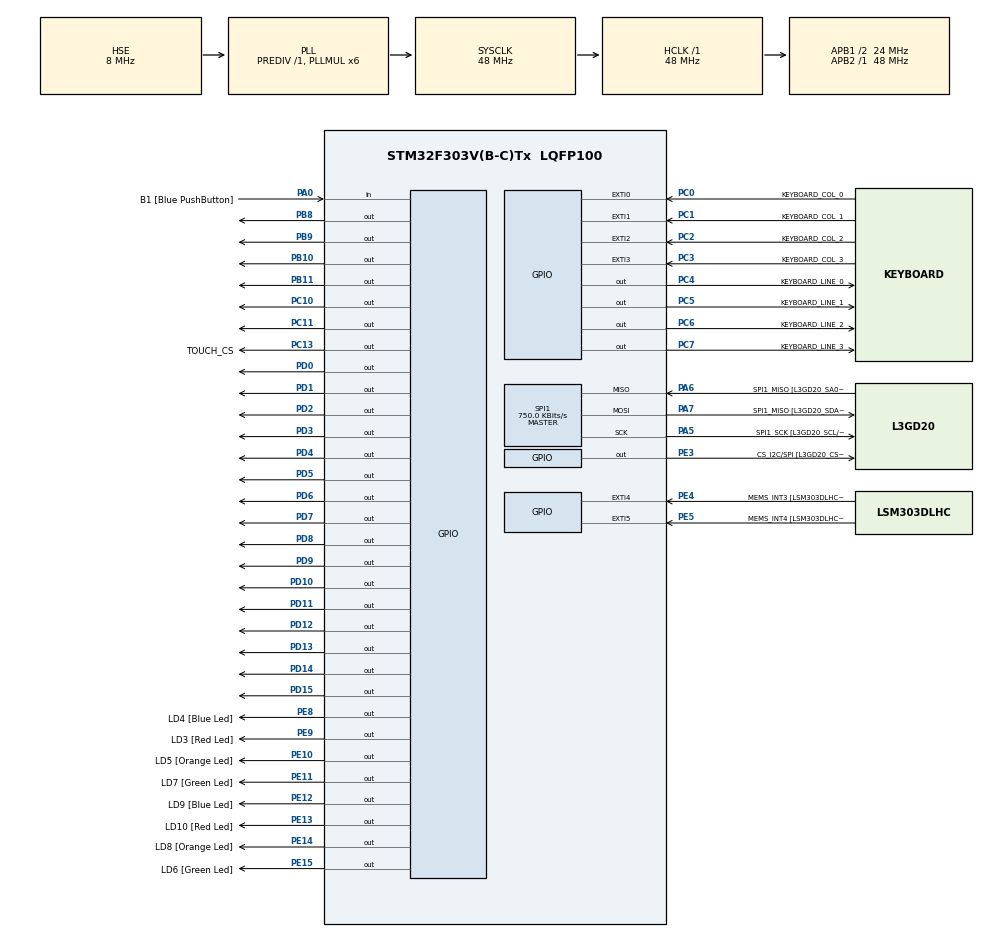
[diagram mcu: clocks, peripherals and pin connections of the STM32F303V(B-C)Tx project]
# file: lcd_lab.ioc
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Mcu.Family=STM32F3
Mcu.Name=STM32F303V(B-C)Tx
Mcu.Package=LQFP100
NVIC.EXTI0_IRQn=true\:0\:4\:false\:false\:true\:true\:true
NVIC.EXTI1_IRQn=true\:0\:4\:false\:false\:true\:true\:true
NVIC.EXTI2_TSC_IRQn=true\:0\:4\:false\:false\:true\:true\:true
NVIC.EXTI3_IRQn=true\:0\:4\:false\:false\:true\:true\:true
NVIC.PriorityGroup=NVIC_PRIORITYGROUP_0
PA0.GPIO_Label=B1 [Blue PushButton]
PA0.GPIO_Mode=GPIO_MODE_INPUT
PA0.GPIO_PuPd=GPIO_NOPULL
PA0.Signal=GPIO_Input
PA11.GPIO_Label=DM
PA11.Signal=USB_DM
PA12.GPIO_Label=DP
PA12.Signal=USB_DP
PA13.GPIO_Label=SWDIO
PA13.Signal=SYS_JTMS-SWDIO
PA14.GPIO_Label=SWCLK
PA14.Signal=SYS_JTCK-SWCLK
PA5.GPIO_Label=SPI1_SCK [L3GD20_SCL/SPC]
PA5.GPIO_Mode=GPIO_MODE_AF_PP
PA5.GPIO_PuPd=GPIO_NOPULL
PA5.GPIO_Speed=GPIO_SPEED_FREQ_LOW
PA5.Mode=Full_Duplex_Master
PA5.Signal=SPI1_SCK
PA6.GPIO_Label=SPI1_MISO [L3GD20_SA0/SDO]
PA6.GPIO_Mode=GPIO_MODE_AF_PP
PA6.GPIO_PuPd=GPIO_NOPULL
PA6.GPIO_Speed=GPIO_SPEED_FREQ_LOW
PA6.Mode=Full_Duplex_Master
PA6.Signal=SPI1_MISO
PA7.GPIO_Label=SPI1_MISO [L3GD20_SDA/SDI/SDO]
PA7.GPIO_Mode=GPIO_MODE_AF_PP
PA7.GPIO_PuPd=GPIO_NOPULL
PA7.GPIO_Speed=GPIO_SPEED_FREQ_LOW
PA7.Mode=Full_Duplex_Master
PA7.Signal=SPI1_MOSI
PB10.GPIO_Speed=GPIO_SPEED_FREQ_HIGH
PB10.PinState=GPIO_PIN_SET
PB10.Signal=GPIO_Output
PB11.GPIO_Speed=GPIO_SPEED_FREQ_HIGH
PB11.PinState=GPIO_PIN_SET
PB11.Signal=GPIO_Output
PB3.GPIO_Label=SWO
PB3.Signal=SYS_JTDO-TRACESWO
PB6.GPIO_FM6=__NULL
PB6.GPIO_Label=I2C1_SCL [LSM303DLHC_SCL]
PB6.GPIO_Mode=GPIO_MODE_AF_OD
PB6.GPIO_PuPd=GPIO_NOPULL
PB6.GPIO_Speed=GPIO_SPEED_FREQ_LOW
PB6.Signal=I2C1_SCL
PB7.GPIO_FM7=__NULL
PB7.GPIO_Label=I2C1_SDA [LSM303DLHC_SDA]
PB7.GPIO_Mode=GPIO_MODE_AF_OD
PB7.GPIO_PuPd=GPIO_NOPULL
PB7.GPIO_Speed=GPIO_SPEED_FREQ_LOW
PB7.Signal=I2C1_SDA
PB8.GPIO_Speed=GPIO_SPEED_FREQ_HIGH
PB8.PinState=GPIO_PIN_SET
PB8.Signal=GPIO_Output
PB9.GPIO_Speed=GPIO_SPEED_FREQ_HIGH
PB9.PinState=GPIO_PIN_SET
PB9.Signal=GPIO_Output
PC0.GPIO_Label=KEYBOARD_COL_0
PC0.GPIO_ModeDefaultEXTI=GPIO_MODE_IT_RISING_FALLING
PC0.GPIO_PuPd=GPIO_PULLDOWN
PC0.Signal=GPXTI0
PC1.GPIO_Label=KEYBOARD_COL_1
PC1.GPIO_ModeDefaultEXTI=GPIO_MODE_IT_RISING_FALLING
PC1.GPIO_PuPd=GPIO_PULLDOWN
PC1.Signal=GPXTI1
PC10.GPIO_ModeDefaultOutputPP=GPIO_MODE_OUTPUT_OD
PC10.GPIO_PuPd=GPIO_PULLUP
PC10.GPIO_Speed=GPIO_SPEED_FREQ_HIGH
PC10.PinState=GPIO_PIN_SET
PC10.Signal=GPIO_Output
PC11.GPIO_ModeDefaultOutputPP=GPIO_MODE_OUTPUT_OD
PC11.GPIO_PuPd=GPIO_PULLUP
PC11.GPIO_Speed=GPIO_SPEED_FREQ_HIGH
PC11.PinState=GPIO_PIN_SET
PC11.Signal=GPIO_Output
PC13.GPIO_Label=TOUCH_CS
PC13.GPIO_ModeDefaultOutputPP=GPIO_MODE_OUTPUT_OD
PC13.GPIO_PuPd=GPIO_PULLUP
PC13.PinState=GPIO_PIN_SET
PC13.Signal=GPIO_Output
PC14-OSC32_IN.GPIO_Label=OSC32_IN
PC14-OSC32_IN.Signal=RCC_OSC32_IN
PC15-OSC32_OUT.GPIO_Label=OSC32_OUT
PC15-OSC32_OUT.Signal=RCC_OSC32_OUT
PC2.GPIO_Label=KEYBOARD_COL_2
PC2.GPIO_ModeDefaultEXTI=GPIO_MODE_IT_RISING_FALLING
PC2.GPIO_PuPd=GPIO_PULLDOWN
PC2.Signal=GPXTI2
PC3.GPIO_Label=KEYBOARD_COL_3
PC3.GPIO_ModeDefaultEXTI=GPIO_MODE_IT_RISING_FALLING
PC3.GPIO_PuPd=GPIO_PULLDOWN
PC3.Signal=GPXTI3
PC4.GPIO_Label=KEYBOARD_LINE_0
PC4.GPIO_Speed=GPIO_SPEED_FREQ_HIGH
PC4.PinState=GPIO_PIN_SET
PC4.Signal=GPIO_Output
PC5.GPIO_Label=KEYBOARD_LINE_1
PC5.GPIO_Speed=GPIO_SPEED_FREQ_HIGH
PC5.PinState=GPIO_PIN_SET
PC5.Signal=GPIO_Output
PC6.GPIO_Label=KEYBOARD_LINE_2
PC6.GPIO_Speed=GPIO_SPEED_FREQ_HIGH
PC6.PinState=GPIO_PIN_SET
PC6.Signal=GPIO_Output
PC7.GPIO_Label=KEYBOARD_LINE_3
PC7.GPIO_Speed=GPIO_SPEED_FREQ_HIGH
PC7.PinState=GPIO_PIN_SET
PC7.Signal=GPIO_Output
PD0.GPIO_Speed=GPIO_SPEED_FREQ_HIGH
PD0.PinState=GPIO_PIN_SET
PD0.Signal=GPIO_Output
PD1.GPIO_Speed=GPIO_SPEED_FREQ_HIGH
PD1.PinState=GPIO_PIN_SET
PD1.Signal=GPIO_Output
PD10.GPIO_Speed=GPIO_SPEED_FREQ_HIGH
PD10.PinState=GPIO_PIN_SET
PD10.Signal=GPIO_Output
PD11.GPIO_Speed=GPIO_SPEED_FREQ_HIGH
PD11.PinState=GPIO_PIN_SET
PD11.Signal=GPIO_Output
PD12.GPIO_Speed=GPIO_SPEED_FREQ_HIGH
PD12.PinState=GPIO_PIN_SET
PD12.Signal=GPIO_Output
PD13.GPIO_Speed=GPIO_SPEED_FREQ_HIGH
PD13.PinState=GPIO_PIN_SET
PD13.Signal=GPIO_Output
PD14.GPIO_Speed=GPIO_SPEED_FREQ_HIGH
PD14.PinState=GPIO_PIN_SET
PD14.Signal=GPIO_Output
PD15.GPIO_Speed=GPIO_SPEED_FREQ_HIGH
PD15.PinState=GPIO_PIN_SET
PD15.Signal=GPIO_Output
PD2.GPIO_Speed=GPIO_SPEED_FREQ_HIGH
PD2.PinState=GPIO_PIN_SET
PD2.Signal=GPIO_Output
PD3.GPIO_Speed=GPIO_SPEED_FREQ_HIGH
PD3.PinState=GPIO_PIN_SET
PD3.Signal=GPIO_Output
PD4.GPIO_Speed=GPIO_SPEED_FREQ_HIGH
PD4.PinState=GPIO_PIN_SET
PD4.Signal=GPIO_Output
PD5.GPIO_Speed=GPIO_SPEED_FREQ_HIGH
PD5.PinState=GPIO_PIN_SET
PD5.Signal=GPIO_Output
PD6.GPIO_Speed=GPIO_SPEED_FREQ_HIGH
PD6.PinState=GPIO_PIN_SET
PD6.Signal=GPIO_Output
PD7.GPIO_Speed=GPIO_SPEED_FREQ_HIGH
PD7.PinState=GPIO_PIN_SET
PD7.Signal=GPIO_Output
PD8.GPIO_Speed=GPIO_SPEED_FREQ_HIGH
PD8.PinState=GPIO_PIN_SET
PD8.Signal=GPIO_Output
PD9.GPIO_Speed=GPIO_SPEED_FREQ_HIGH
PD9.PinState=GPIO_PIN_SET
PD9.Signal=GPIO_Output
PE10.GPIO_Label=LD5 [Orange Led]
PE10.GPIO_ModeDefaultOutputPP=GPIO_MODE_OUTPUT_PP
PE10.GPIO_PuPd=GPIO_NOPULL
PE10.GPIO_Speed=GPIO_SPEED_FREQ_LOW
PE10.Signal=GPIO_Output
PE11.GPIO_Label=LD7 [Green Led]
PE11.GPIO_ModeDefaultOutputPP=GPIO_MODE_OUTPUT_PP
PE11.GPIO_PuPd=GPIO_NOPULL
PE11.GPIO_Speed=GPIO_SPEED_FREQ_LOW
PE11.Signal=GPIO_Output
PE12.GPIO_Label=LD9 [Blue Led]
PE12.GPIO_ModeDefaultOutputPP=GPIO_MODE_OUTPUT_PP
PE12.GPIO_PuPd=GPIO_NOPULL
PE12.GPIO_Speed=GPIO_SPEED_FREQ_LOW
PE12.Signal=GPIO_Output
PE13.GPIO_Label=LD10 [Red Led]
PE13.GPIO_ModeDefaultOutputPP=GPIO_MODE_OUTPUT_PP
PE13.GPIO_PuPd=GPIO_NOPULL
PE13.GPIO_Speed=GPIO_SPEED_FREQ_LOW
PE13.Signal=GPIO_Output
PE14.GPIO_Label=LD8 [Orange Led]
PE14.GPIO_ModeDefaultOutputPP=GPIO_MODE_OUTPUT_PP
PE14.GPIO_PuPd=GPIO_NOPULL
PE14.GPIO_Speed=GPIO_SPEED_FREQ_LOW
PE14.Signal=GPIO_Output
PE15.GPIO_Label=LD6 [Green Led]
PE15.GPIO_ModeDefaultOutputPP=GPIO_MODE_OUTPUT_PP
PE15.GPIO_PuPd=GPIO_NOPULL
PE15.GPIO_Speed=GPIO_SPEED_FREQ_LOW
PE15.Signal=GPIO_Output
PE3.GPIO_Label=CS_I2C/SPI [L3GD20_CS_I2C/SPI]
PE3.GPIO_ModeDefaultOutputPP=GPIO_MODE_OUTPUT_PP
PE3.GPIO_PuPd=GPIO_NOPULL
PE3.GPIO_Speed=GPIO_SPEED_FREQ_LOW
PE3.Signal=GPIO_Output
PE4.GPIO_Label=MEMS_INT3 [LSM303DLHC_INT1]
PE4.GPIO_ModeDefaultEXTI=GPIO_MODE_EVT_RISING
PE4.GPIO_PuPd=GPIO_NOPULL
PE4.Signal=GPXTI4
PE5.GPIO_Label=MEMS_INT4 [LSM303DLHC_INT2]
PE5.GPIO_ModeDefaultEXTI=GPIO_MODE_EVT_RISING
PE5.GPIO_PuPd=GPIO_NOPULL
PE5.Signal=GPXTI5
PE8.GPIO_Label=LD4 [Blue Led]
PE8.GPIO_ModeDefaultOutputPP=GPIO_MODE_OUTPUT_PP
PE8.GPIO_PuPd=GPIO_NOPULL
PE8.GPIO_Speed=GPIO_SPEED_FREQ_LOW
PE8.Signal=GPIO_Output
PE9.GPIO_Label=LD3 [Red Led]
PE9.GPIO_ModeDefaultOutputPP=GPIO_MODE_OUTPUT_PP
PE9.GPIO_PuPd=GPIO_NOPULL
PE9.GPIO_Speed=GPIO_SPEED_FREQ_LOW
PE9.Signal=GPIO_Output
PF0-OSC_IN.GPIO_Label=OSC_IN
PF0-OSC_IN.Mode=HSE-External-Clock-Source
PF0-OSC_IN.Signal=RCC_OSC_IN
PF1-OSC_OUT.GPIO_Label=OSC_OUT
PF1-OSC_OUT.Signal=RCC_OSC_OUT
ProjectManager.HeapSize=0x200
ProjectManager.StackSize=0x2600
ProjectManager.TargetToolchain=Makefile
RCC.AHBFreq_Value=48000000
RCC.APB1CLKDivider=RCC_HCLK_DIV2
RCC.APB1Freq_Value=24000000
RCC.APB1TimFreq_Value=48000000
RCC.APB2Freq_Value=48000000
RCC.APB2TimFreq_Value=48000000
RCC.CortexFreq_Value=48000000
RCC.HCLKFreq_Value=48000000
RCC.HSE_VALUE=8000000
RCC.HSI_VALUE=8000000
RCC.LSE_VALUE=32768
RCC.PLLMUL=RCC_PLL_MUL6
RCC.PLLSourceVirtual=RCC_PLLSOURCE_HSE
RCC.SYSCLKFreq_VALUE=48000000
RCC.SYSCLKSourceVirtual=RCC_SYSCLKSOURCE_PLLCLK
RCC.USBFreq_Value=48000000
SPI1.BaudRatePrescaler=SPI_BAUDRATEPRESCALER_64
SPI1.CalculateBaudRate=750.0 KBits/s
SPI1.DataSize=SPI_DATASIZE_8BIT
SPI1.Direction=SPI_DIRECTION_2LINES
SPI1.Mode=SPI_MODE_MASTER
SPI1.VirtualType=VM_MASTER
board=STM32F3DISCOVERY

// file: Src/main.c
/* USER CODE BEGIN Header */
/**
 ******************************************************************************
 * @file           : main.c
 * @brief          : Main program body
 ******************************************************************************
 * @attention
 *
 * Copyright (c) 2022 STMicroelectronics.
 * All rights reserved.
 *
 * This software is licensed under terms that can be found in the LICENSE file
 * in the root directory of this software component.
 * If no LICENSE file comes with this software, it is provided AS-IS.
 *
 ******************************************************************************
 */
/* USER CODE END Header */
#include "main.h"

/* USER CODE BEGIN Includes */
#include <string.h>

#include "keyboard.h"
#include "lab_5_icons.h"
#include "lcd.h"
#include "touch.h"
/* USER CODE END Includes */

/* USER CODE BEGIN PD */
#define AVG_BUFFER_SIZE 3
#define TOUCH_TRIGGER_VALUE 3800
#define ABS(x) ((x) < 0 ? -(x) : (x))

#define CURSOR_DEFAULT cursor_6_image
#define CURSOR_ON_TOUCH cursor_5_image
/* USER CODE END PD */

SPI_HandleTypeDef hspi1;

/* USER CODE BEGIN PV */
int background_color = LCD_ILI93XX_COLOR_FUCHSIA;
int cursor_color = LCD_ILI93XX_COLOR_GRAY;
/* USER CODE END PV */

void SystemClock_Config(void);
static void MX_GPIO_Init(void);
static void MX_SPI1_Init(void);

/* USER CODE BEGIN 0 */
void KeyboardHandleEvent(KeyEvent e) {
  if (e.state != PRESSED) {
    return;
  }

  switch (e.key) {
    case 0:
      background_color = LCD_ILI93XX_COLOR_FUCHSIA;
      break;

    case 1:
      background_color = LCD_ILI93XX_COLOR_SILVER;
      break;

    case 2:
      background_color = LCD_ILI93XX_COLOR_MAROON;
      break;

    case 3:
      background_color = LCD_ILI93XX_COLOR_NAVY;
      break;

    default:
      break;
  }
}
/* USER CODE END 0 */

int main(void)
{

  /* MCU Configuration--------------------------------------------------------*/

  /* Reset of all peripherals, Initializes the Flash interface and the Systick. */
  HAL_Init();

  /* Configure the system clock */
  SystemClock_Config();

  /* Initialize all configured peripherals */
  MX_GPIO_Init();
  MX_SPI1_Init();
  /* USER CODE BEGIN 2 */

  int err = 0;

  lcd_xpt2046_driver_t touch_drv = make_touch_driver(&err);
  if (err) {
    while (1) {
      __NOP();
    }
  }

  lcd_ili93xx_driver_t lcd_drv = make_lcd_driver(&err);
  if (err) {
    while (1) {
      __NOP();
    }
  }

  Keyboard_Init();
  Keyboard_SetCallback(KeyboardHandleEvent);

  int16_t width = 0;
  int16_t height = 0;
  lcd_ili93xx_get_width(&lcd_drv, &width);
  lcd_ili93xx_get_height(&lcd_drv, &height);

  /* USER CODE END 2 */

  /* Infinite loop */
  /* USER CODE BEGIN WHILE */
  int touched = 0;
  int touch_x, touch_y;

  while (1) {
    // Grab touch data
    int x[AVG_BUFFER_SIZE] = {0};
    int y[AVG_BUFFER_SIZE] = {0};
    int z1[AVG_BUFFER_SIZE] = {0};
    int z2[AVG_BUFFER_SIZE] = {0};

    for (int i = 0; i < AVG_BUFFER_SIZE; i++) {
      int err = 0;
      err |= lcd_xpt2046_measure(&touch_drv, XPT2046_CMD_MEASURE_X, &x[i]);
      err |= lcd_xpt2046_measure(&touch_drv, XPT2046_CMD_MEASURE_Y, &y[i]);
      err |= lcd_xpt2046_measure(&touch_drv, XPT2046_CMD_MEASURE_Z1, &z1[i]);
      err |= lcd_xpt2046_measure(&touch_drv, XPT2046_CMD_MEASURE_Z2, &z2[i]);

      if (err) {
        __NOP();
      }
    }
    // Average data
    int avg_x = 0, avg_y = 0, avg_z1 = 0, avg_z2 = 0;
    for (int i = 0; i < AVG_BUFFER_SIZE; i++) {
      avg_x += x[i];
      avg_y += y[i];
      avg_z1 += z1[i];
      avg_z2 += z2[i];
    }
    avg_x /= AVG_BUFFER_SIZE;
    avg_y /= AVG_BUFFER_SIZE;
    avg_z1 /= AVG_BUFFER_SIZE;
    avg_z2 /= AVG_BUFFER_SIZE;

    // Touch detection
    if (ABS(avg_z2 - avg_z1) < TOUCH_TRIGGER_VALUE) {
      // Touched
      touched = 1;
      touch_x = avg_x * 240 / 4096 - 8;
      touch_y = avg_y * 320 / 4096 + 8;
    } else {
      touched = 0;
    }

    // Draw
    int cached_back_color = background_color;
    int cached_front_color = cursor_color;

    for (int x = 0; x < 240; x++) {
      uint16_t color_line[320];
      for (int i = 0; i < 320; i++) {
        color_line[i] = cached_back_color;
      }

      if (touch_x <= x && x < touch_x + 16) {
        int x_in_img = x - touch_x;
        for (int y_in_img = 0; y_in_img < 16; y_in_img++) {
          int mask = CURSOR_DEFAULT[x_in_img][y_in_img];
          if (touched) {
            mask = CURSOR_ON_TOUCH[x_in_img][y_in_img];
          }

          if (mask) {
            color_line[touch_y + y_in_img] = cached_front_color;
          }
        }
      }

      lcd_ili93xx_fill_area(&lcd_drv, x, 0, x, 320, color_line);
    }

    // lcd_ili93xx_fill_area_color(&lcd_drv, 0, 0, width, height,
    //                             cached_back_color);

    // uint16_t color_data[16][16] = {0};

    // for (int x = 0; x < 16; x++) {
    //   for (int y = 0; y < 16; y++) {
    //     int mask = CURSOR_DEFAULT[x][y];
    //     if (touched) {
    //       mask = CURSOR_ON_TOUCH[x][y];
    //     }

    //     if (mask) {
    //       color_data[x][y] = cached_front_color;
    //     } else {
    //       color_data[x][y] = cached_back_color;
    //     }
    //   }
    // }

    // lcd_ili93xx_fill_area(&lcd_drv, touch_x, touch_y, touch_x + 16,
    //                       touch_y + 16, (int16_t*)color_data);

    /* USER CODE END WHILE */

    /* USER CODE BEGIN 3 */
    HAL_Delay(1);
  }
  /* USER CODE END 3 */
}

void SystemClock_Config(void)
{
  RCC_OscInitTypeDef RCC_OscInitStruct = {0};
  RCC_ClkInitTypeDef RCC_ClkInitStruct = {0};

  /** Initializes the RCC Oscillators according to the specified parameters
  * in the RCC_OscInitTypeDef structure.
  */
  RCC_OscInitStruct.OscillatorType = RCC_OSCILLATORTYPE_HSE;
  RCC_OscInitStruct.HSEState = RCC_HSE_BYPASS;
  RCC_OscInitStruct.HSEPredivValue = RCC_HSE_PREDIV_DIV1;
  RCC_OscInitStruct.HSIState = RCC_HSI_ON;
  RCC_OscInitStruct.PLL.PLLState = RCC_PLL_ON;
  RCC_OscInitStruct.PLL.PLLSource = RCC_PLLSOURCE_HSE;
  RCC_OscInitStruct.PLL.PLLMUL = RCC_PLL_MUL6;
  if (HAL_RCC_OscConfig(&RCC_OscInitStruct) != HAL_OK)
  {
    Error_Handler();
  }
  /** Initializes the CPU, AHB and APB buses clocks
  */
  RCC_ClkInitStruct.ClockType = RCC_CLOCKTYPE_HCLK|RCC_CLOCKTYPE_SYSCLK
                              |RCC_CLOCKTYPE_PCLK1|RCC_CLOCKTYPE_PCLK2;
  RCC_ClkInitStruct.SYSCLKSource = RCC_SYSCLKSOURCE_PLLCLK;
  RCC_ClkInitStruct.AHBCLKDivider = RCC_SYSCLK_DIV1;
  RCC_ClkInitStruct.APB1CLKDivider = RCC_HCLK_DIV2;
  RCC_ClkInitStruct.APB2CLKDivider = RCC_HCLK_DIV1;

  if (HAL_RCC_ClockConfig(&RCC_ClkInitStruct, FLASH_LATENCY_1) != HAL_OK)
  {
    Error_Handler();
  }
}

static void MX_SPI1_Init(void)
{

  /* SPI1 parameter configuration*/
  hspi1.Instance = SPI1;
  hspi1.Init.Mode = SPI_MODE_MASTER;
  hspi1.Init.Direction = SPI_DIRECTION_2LINES;
  hspi1.Init.DataSize = SPI_DATASIZE_8BIT;
  hspi1.Init.CLKPolarity = SPI_POLARITY_LOW;
  hspi1.Init.CLKPhase = SPI_PHASE_1EDGE;
  hspi1.Init.NSS = SPI_NSS_SOFT;
  hspi1.Init.BaudRatePrescaler = SPI_BAUDRATEPRESCALER_64;
  hspi1.Init.FirstBit = SPI_FIRSTBIT_MSB;
  hspi1.Init.TIMode = SPI_TIMODE_DISABLE;
  hspi1.Init.CRCCalculation = SPI_CRCCALCULATION_DISABLE;
  hspi1.Init.CRCPolynomial = 7;
  hspi1.Init.CRCLength = SPI_CRC_LENGTH_DATASIZE;
  hspi1.Init.NSSPMode = SPI_NSS_PULSE_ENABLE;
  if (HAL_SPI_Init(&hspi1) != HAL_OK)
  {
    Error_Handler();
  }

}

static void MX_GPIO_Init(void)
{
  GPIO_InitTypeDef GPIO_InitStruct = {0};

  /* GPIO Ports Clock Enable */
  __HAL_RCC_GPIOE_CLK_ENABLE();
  __HAL_RCC_GPIOC_CLK_ENABLE();
  __HAL_RCC_GPIOF_CLK_ENABLE();
  __HAL_RCC_GPIOA_CLK_ENABLE();
  __HAL_RCC_GPIOB_CLK_ENABLE();
  __HAL_RCC_GPIOD_CLK_ENABLE();

  /*Configure GPIO pin Output Level */
  HAL_GPIO_WritePin(GPIOE, CS_I2C_SPI_Pin|LD4_Pin|LD3_Pin|LD5_Pin
                          |LD7_Pin|LD9_Pin|LD10_Pin|LD8_Pin
                          |LD6_Pin, GPIO_PIN_RESET);

  /*Configure GPIO pin Output Level */
  HAL_GPIO_WritePin(GPIOC, TOUCH_CS_Pin|KEYBOARD_LINE_0_Pin|KEYBOARD_LINE_1_Pin|KEYBOARD_LINE_2_Pin
                          |KEYBOARD_LINE_3_Pin|GPIO_PIN_10|GPIO_PIN_11, GPIO_PIN_SET);

  /*Configure GPIO pin Output Level */
  HAL_GPIO_WritePin(GPIOB, GPIO_PIN_10|GPIO_PIN_11|GPIO_PIN_8|GPIO_PIN_9, GPIO_PIN_SET);

  /*Configure GPIO pin Output Level */
  HAL_GPIO_WritePin(GPIOD, GPIO_PIN_8|GPIO_PIN_9|GPIO_PIN_10|GPIO_PIN_11
                          |GPIO_PIN_12|GPIO_PIN_13|GPIO_PIN_14|GPIO_PIN_15
                          |GPIO_PIN_0|GPIO_PIN_1|GPIO_PIN_2|GPIO_PIN_3
                          |GPIO_PIN_4|GPIO_PIN_5|GPIO_PIN_6|GPIO_PIN_7, GPIO_PIN_SET);

  /*Configure GPIO pins : CS_I2C_SPI_Pin LD4_Pin LD3_Pin LD5_Pin
                           LD7_Pin LD9_Pin LD10_Pin LD8_Pin
                           LD6_Pin */
  GPIO_InitStruct.Pin = CS_I2C_SPI_Pin|LD4_Pin|LD3_Pin|LD5_Pin
                          |LD7_Pin|LD9_Pin|LD10_Pin|LD8_Pin
                          |LD6_Pin;
  GPIO_InitStruct.Mode = GPIO_MODE_OUTPUT_PP;
  GPIO_InitStruct.Pull = GPIO_NOPULL;
  GPIO_InitStruct.Speed = GPIO_SPEED_FREQ_LOW;
  HAL_GPIO_Init(GPIOE, &GPIO_InitStruct);

  /*Configure GPIO pins : MEMS_INT3_Pin MEMS_INT4_Pin */
  GPIO_InitStruct.Pin = MEMS_INT3_Pin|MEMS_INT4_Pin;
  GPIO_InitStruct.Mode = GPIO_MODE_EVT_RISING;
  GPIO_InitStruct.Pull = GPIO_NOPULL;
  HAL_GPIO_Init(GPIOE, &GPIO_InitStruct);

  /*Configure GPIO pin : TOUCH_CS_Pin */
  GPIO_InitStruct.Pin = TOUCH_CS_Pin;
  GPIO_InitStruct.Mode = GPIO_MODE_OUTPUT_OD;
  GPIO_InitStruct.Pull = GPIO_PULLUP;
  GPIO_InitStruct.Speed = GPIO_SPEED_FREQ_LOW;
  HAL_GPIO_Init(TOUCH_CS_GPIO_Port, &GPIO_InitStruct);

  /*Configure GPIO pins : KEYBOARD_COL_0_Pin KEYBOARD_COL_1_Pin KEYBOARD_COL_2_Pin KEYBOARD_COL_3_Pin */
  GPIO_InitStruct.Pin = KEYBOARD_COL_0_Pin|KEYBOARD_COL_1_Pin|KEYBOARD_COL_2_Pin|KEYBOARD_COL_3_Pin;
  GPIO_InitStruct.Mode = GPIO_MODE_IT_RISING_FALLING;
  GPIO_InitStruct.Pull = GPIO_PULLDOWN;
  HAL_GPIO_Init(GPIOC, &GPIO_InitStruct);

  /*Configure GPIO pin : B1_Pin */
  GPIO_InitStruct.Pin = B1_Pin;
  GPIO_InitStruct.Mode = GPIO_MODE_INPUT;
  GPIO_InitStruct.Pull = GPIO_NOPULL;
  HAL_GPIO_Init(B1_GPIO_Port, &GPIO_InitStruct);

  /*Configure GPIO pins : KEYBOARD_LINE_0_Pin KEYBOARD_LINE_1_Pin KEYBOARD_LINE_2_Pin KEYBOARD_LINE_3_Pin */
  GPIO_InitStruct.Pin = KEYBOARD_LINE_0_Pin|KEYBOARD_LINE_1_Pin|KEYBOARD_LINE_2_Pin|KEYBOARD_LINE_3_Pin;
  GPIO_InitStruct.Mode = GPIO_MODE_OUTPUT_PP;
  GPIO_InitStruct.Pull = GPIO_NOPULL;
  GPIO_InitStruct.Speed = GPIO_SPEED_FREQ_HIGH;
  HAL_GPIO_Init(GPIOC, &GPIO_InitStruct);

  /*Configure GPIO pins : PB10 PB11 PB8 PB9 */
  GPIO_InitStruct.Pin = GPIO_PIN_10|GPIO_PIN_11|GPIO_PIN_8|GPIO_PIN_9;
  GPIO_InitStruct.Mode = GPIO_MODE_OUTPUT_PP;
  GPIO_InitStruct.Pull = GPIO_NOPULL;
  GPIO_InitStruct.Speed = GPIO_SPEED_FREQ_HIGH;
  HAL_GPIO_Init(GPIOB, &GPIO_InitStruct);

  /*Configure GPIO pins : PD8 PD9 PD10 PD11
                           PD12 PD13 PD14 PD15
                           PD0 PD1 PD2 PD3
                           PD4 PD5 PD6 PD7 */
  GPIO_InitStruct.Pin = GPIO_PIN_8|GPIO_PIN_9|GPIO_PIN_10|GPIO_PIN_11
                          |GPIO_PIN_12|GPIO_PIN_13|GPIO_PIN_14|GPIO_PIN_15
                          |GPIO_PIN_0|GPIO_PIN_1|GPIO_PIN_2|GPIO_PIN_3
                          |GPIO_PIN_4|GPIO_PIN_5|GPIO_PIN_6|GPIO_PIN_7;
  GPIO_InitStruct.Mode = GPIO_MODE_OUTPUT_PP;
  GPIO_InitStruct.Pull = GPIO_NOPULL;
  GPIO_InitStruct.Speed = GPIO_SPEED_FREQ_HIGH;
  HAL_GPIO_Init(GPIOD, &GPIO_InitStruct);

  /*Configure GPIO pins : DM_Pin DP_Pin */
  GPIO_InitStruct.Pin = DM_Pin|DP_Pin;
  GPIO_InitStruct.Mode = GPIO_MODE_AF_PP;
  GPIO_InitStruct.Pull = GPIO_NOPULL;
  GPIO_InitStruct.Speed = GPIO_SPEED_FREQ_HIGH;
  GPIO_InitStruct.Alternate = GPIO_AF14_USB;
  HAL_GPIO_Init(GPIOA, &GPIO_InitStruct);

  /*Configure GPIO pins : PC10 PC11 */
  GPIO_InitStruct.Pin = GPIO_PIN_10|GPIO_PIN_11;
  GPIO_InitStruct.Mode = GPIO_MODE_OUTPUT_OD;
  GPIO_InitStruct.Pull = GPIO_PULLUP;
  GPIO_InitStruct.Speed = GPIO_SPEED_FREQ_HIGH;
  HAL_GPIO_Init(GPIOC, &GPIO_InitStruct);

  /*Configure GPIO pins : I2C1_SCL_Pin I2C1_SDA_Pin */
  GPIO_InitStruct.Pin = I2C1_SCL_Pin|I2C1_SDA_Pin;
  GPIO_InitStruct.Mode = GPIO_MODE_AF_OD;
  GPIO_InitStruct.Pull = GPIO_NOPULL;
  GPIO_InitStruct.Speed = GPIO_SPEED_FREQ_LOW;
  GPIO_InitStruct.Alternate = GPIO_AF4_I2C1;
  HAL_GPIO_Init(GPIOB, &GPIO_InitStruct);

  /* EXTI interrupt init*/
  HAL_NVIC_SetPriority(EXTI0_IRQn, 0, 4);
  HAL_NVIC_EnableIRQ(EXTI0_IRQn);

  HAL_NVIC_SetPriority(EXTI1_IRQn, 0, 4);
  HAL_NVIC_EnableIRQ(EXTI1_IRQn);

  HAL_NVIC_SetPriority(EXTI2_TSC_IRQn, 0, 4);
  HAL_NVIC_EnableIRQ(EXTI2_TSC_IRQn);

  HAL_NVIC_SetPriority(EXTI3_IRQn, 0, 4);
  HAL_NVIC_EnableIRQ(EXTI3_IRQn);

}

void Error_Handler(void)
{
  __disable_irq();
  while (1) {
  }
}

#ifdef  USE_FULL_ASSERT
/**
  * @brief  Reports the name of the source file and the source line number
  *         where the assert_param error has occurred.
  * @param  file: pointer to the source file name
  * @param  line: assert_param error line source number
  * @retval None
  */
void assert_failed(uint8_t *file, uint32_t line)
{
  /* USER CODE BEGIN 6 */
  /* User can add his own implementation to report the file name and line
     number,
     ex: printf("Wrong parameters value: file %s on line %d\r\n", file, line) */
  /* USER CODE END 6 */
}
#endif /* USE_FULL_ASSERT */
